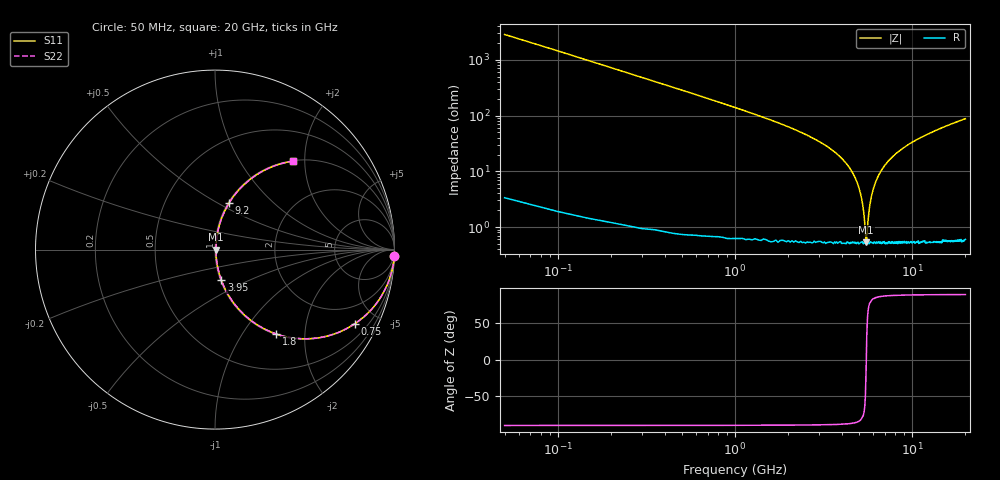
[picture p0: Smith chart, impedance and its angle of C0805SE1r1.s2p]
! AVX Thin Film Operation		Date: April 2012
! Description: Accu-P® Series, Thin Film, SMD, RF Capacitor
! Part Number: 08051J1R1PBTTR
!	100	MHz	-	20.05	GHz
!	Serial	Measurements
#	MHZ	S	MA	R	50
!	S11	S21	S12	S22
!	dB	Phase	dB	Phase	dB	Phase	dB	Phase
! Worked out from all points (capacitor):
!   400 points, 50 MHz to 20 GHz, reference 50 ohm
!   read as one part in series: C = 1.1 pF near 150 MHz
!   lowest |Z| = 527 mohm at 5.5 GHz (marker M1)
!   series resonance near 5.513 GHz, so ESL is about 760 pH
!   S11 on the Smith chart (normalised r, x): 50 MHz: 2, -58; 750 MHz: 1.01, -3.79; 1.8 GHz: 1.01, -1.44; 3.95 GHz: 1.01, -0.36; 9.2 GHz: 1.01, +0.56; 20 GHz: 1.01, +1.76
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50  0.999 -2.0  0.035 88.0  0.035 88.0  0.999 -2.0
150  0.995 -5.9  0.103 84.0  0.103 84.0  0.995 -5.9
250  0.985 -9.8  0.171 80.1  0.171 80.1  0.985 -9.8
450  0.954 -17.4  0.299 72.5  0.299 72.5  0.954 -17.4
750  0.883 -27.8  0.466 62.0  0.466 62.0  0.883 -27.8
1800  0.581 -54.0  0.809 35.5  0.809 35.5  0.581 -54.0
3400  0.254 -74.2  0.962 14.7  0.962 14.7  0.254 -74.2
3950  0.175 -78.3  0.979 10.1  0.979 10.1  0.175 -78.3
4600  0.095 -81.4  0.99 5.4  0.99 5.4  0.095 -81.4
5050  0.046 -80.9  0.994 2.6  0.994 2.6  0.046 -80.9
5350  0.017 -70.8  0.995 0.9  0.995 0.9  0.017 -70.8
5500  0.005344 -13.3  0.995 0.1  0.995 0.1  0.005344 -13.3
5750  0.023 75.4  0.995 -1.3  0.995 -1.3  0.023 75.4
5900  0.036 79.6  0.994 -2.0  0.994 -2.0  0.036 79.6
6200  0.062 81.6  0.993 -3.5  0.993 -3.5  0.062 81.6
6700  0.102 81.2  0.99 -5.8  0.99 -5.8  0.102 81.2
7650  0.172 78.4  0.98 -9.9  0.98 -9.9  0.172 78.4
9200  0.269 73.3  0.958 -15.6  0.958 -15.6  0.269 73.3
10050  0.316 70.7  0.944 -18.4  0.944 -18.4  0.316 70.7
13350  0.464 61.7  0.881 -27.7  0.881 -27.7  0.464 61.7
16700  0.576 54.4  0.813 -35.2  0.813 -35.2  0.576 54.4
20000  0.658 48.5  0.748 -41.2  0.748 -41.2  0.658 48.5
